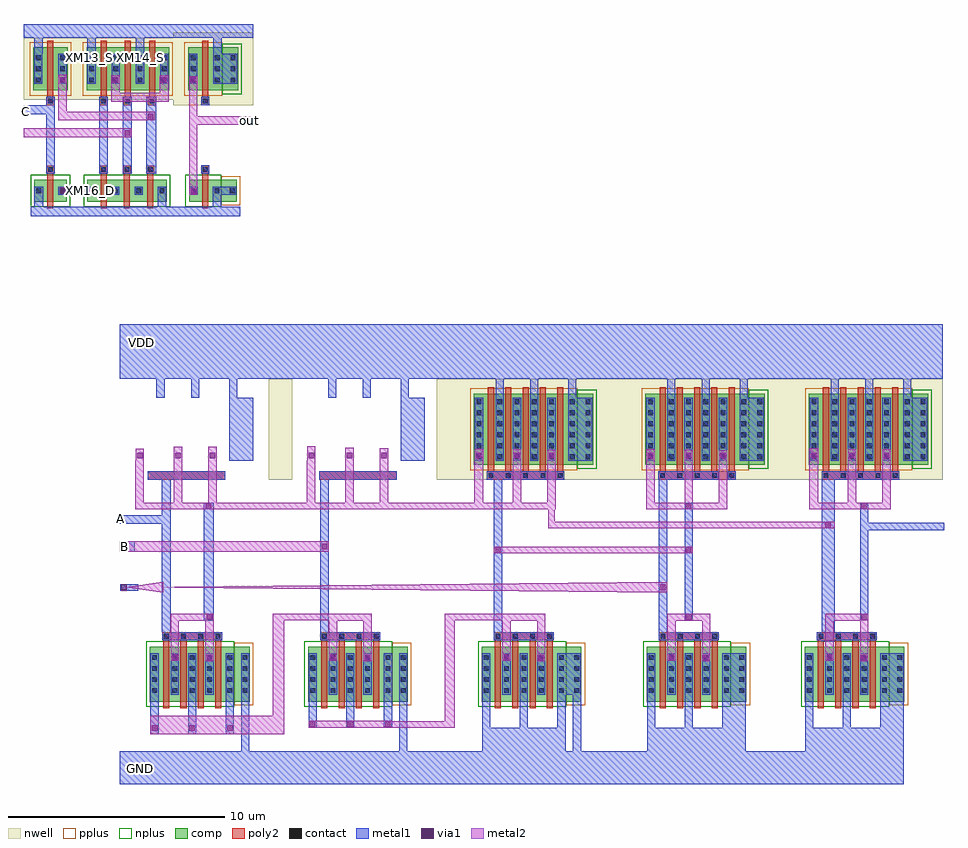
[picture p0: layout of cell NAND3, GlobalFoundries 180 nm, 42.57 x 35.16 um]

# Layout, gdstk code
import gdstk
lib = gdstk.Library(unit=1e-6, precision=5e-09)
def R(c, l, rs):  # rectangles x0, y0, x1, y1
    for r in rs: c.add(gdstk.rectangle(r[:2], r[2:], *l))
def A(c, l, x, y, w, h, nx, ny, dx, dy):  # array of equal rectangles
    R(c, l, [(x+i*dx, y+j*dy, x+i*dx+w, y+j*dy+h) for i in range(nx) for j in range(ny)])
nwell = (21, 0)
comp = (22, 0)
poly2 = (30, 0)
pplus = (31, 0)
nplus = (32, 0)
contact = (33, 0)
metal1 = (34, 0)
via1 = (35, 0)
metal2 = (36, 0)

nfet_1 = lib.new_cell('nfet$1')
R(nfet_1, comp, [(-0.42,0,0,2.54), (0,0,3.06,2.54), (3.06,0,3.48,2.54), (3.48,0,4.19,2.54)])
A(nfet_1, poly2, 0.19, -0.3, 0.28, 3.14, 4, 1, 0.8, 0)
A(nfet_1, poly2, 0.15, 2.84, 0.36, 0.36, 4, 1, 0.8, 0)
R(nfet_1, pplus, [(3.48,-0.17,4.36,2.71)])
R(nfet_1, nplus, [(-0.59,-0.24,3.48,2.78)])
A(nfet_1, contact, -0.32, 0.395, 0.22, 0.22, 1, 4, 0, 0.51)
A(nfet_1, contact, 0.62, 0.395, 0.22, 0.22, 3, 4, 0.8, 0.51)
A(nfet_1, contact, 3.16, 0.395, 0.22, 0.22, 1, 4, 0, 0.51)
A(nfet_1, contact, 3.87, 0.395, 0.22, 0.22, 1, 4, 0, 0.51)
A(nfet_1, contact, 0.22, 2.91, 0.22, 0.22, 4, 1, 0.8, 0)
A(nfet_1, metal1, 0.54, 0.315, 0.38, 1.91, 3, 1, 0.8, 0)
A(nfet_1, metal1, 0.14, 2.83, 0.38, 0.38, 4, 1, 0.8, 0)
R(nfet_1, metal1, [(-0.4,0.315,-0.02,2.225), (3.08,0.315,3.46,2.225), (3.79,0.315,4.17,2.225)])

pfet = lib.new_cell('pfet')
R(pfet, nwell, [(-1.15,-0.69,5.74,3.99)])
R(pfet, comp, [(-0.46,0,0,3.3), (0,0,3.86,3.3), (3.86,0,4.32,3.3), (4.32,0,5.05,3.3)])
A(pfet, poly2, 0.14, -0.68, 0.38, 0.38, 5, 1, 0.8, 0)
A(pfet, poly2, 0.19, -0.3, 0.28, 3.9, 5, 1, 0.8, 0)
R(pfet, pplus, [(-0.63,-0.24,4.32,3.54)])
R(pfet, nplus, [(4.32,-0.17,5.22,3.47)])
A(pfet, contact, 0.22, -0.6, 0.22, 0.22, 5, 1, 0.8, 0)
A(pfet, contact, -0.34, 0.265, 0.22, 0.22, 1, 6, 0, 0.51)
A(pfet, contact, 0.62, 0.265, 0.22, 0.22, 4, 6, 0.8, 0.51)
A(pfet, contact, 3.98, 0.265, 0.22, 0.22, 1, 6, 0, 0.51)
A(pfet, contact, 4.71, 0.265, 0.22, 0.22, 1, 6, 0, 0.51)
A(pfet, metal1, 0.14, -0.68, 0.38, 0.38, 5, 1, 0.8, 0)
A(pfet, metal1, 0.54, 0.185, 0.38, 2.93, 4, 1, 0.8, 0)
R(pfet, metal1, [(-0.42,0.185,-0.04,3.115), (3.9,0.185,4.28,3.115), (4.63,0.185,5.01,3.115)])

nfet = lib.new_cell('nfet')
R(nfet, comp, [(-0.42,0,0,1), (0,0,0.66,1), (0.66,0,1.08,1)])
R(nfet, poly2, [(0.19,-0.3,0.47,1.3), (0.15,1.3,0.51,1.66)])
R(nfet, nplus, [(-0.59,-0.24,1.25,1.24)])
R(nfet, contact, [(-0.32,0.39,-0.1,0.61), (0.76,0.39,0.98,0.61), (0.22,1.37,0.44,1.59)])
R(nfet, metal1, [(-0.4,0.31,-0.02,0.69), (0.68,0.31,1.06,0.69), (0.14,1.29,0.52,1.67)])

pfet_1 = lib.new_cell('pfet$1')
R(pfet_1, nwell, [(-0.9,-0.44,1.56,2.44)])
R(pfet_1, comp, [(-0.46,0,0,2), (0,0,0.66,2), (0.66,0,1.12,2)])
R(pfet_1, poly2, [(0.14,-0.68,0.52,-0.3), (0.19,-0.3,0.47,2.3)])
R(pfet_1, pplus, [(-0.63,-0.24,1.29,2.24)])
A(pfet_1, contact, -0.34, 0.38, 0.22, 0.22, 1, 3, 0, 0.51)
A(pfet_1, contact, 0.78, 0.38, 0.22, 0.22, 1, 3, 0, 0.51)
R(pfet_1, contact, [(0.22,-0.6,0.44,-0.38)])
R(pfet_1, metal1, [(0.14,-0.68,0.52,-0.3), (-0.42,0.3,-0.04,1.7), (0.7,0.3,1.08,1.7)])

pfet_2 = lib.new_cell('pfet$2')
R(pfet_2, nwell, [(-1.15,-0.69,2.54,2.69)])
R(pfet_2, comp, [(-0.46,0,0,2), (0,0,0.66,2), (0.66,0,1.12,2), (1.12,0,1.85,2)])
R(pfet_2, poly2, [(0.14,-0.68,0.52,-0.3), (0.19,-0.3,0.47,2.3)])
R(pfet_2, pplus, [(-0.63,-0.24,1.12,2.24)])
R(pfet_2, nplus, [(1.12,-0.17,2.02,2.17)])
A(pfet_2, contact, -0.34, 0.38, 0.22, 0.22, 1, 3, 0, 0.51)
A(pfet_2, contact, 0.78, 0.38, 0.22, 0.22, 1, 3, 0, 0.51)
A(pfet_2, contact, 1.51, 0.38, 0.22, 0.22, 1, 3, 0, 0.51)
R(pfet_2, contact, [(0.22,-0.6,0.44,-0.38)])
R(pfet_2, metal1, [(0.14,-0.68,0.52,-0.3), (-0.42,0.3,-0.04,1.7), (0.7,0.3,1.08,1.7), (1.43,0.3,1.81,1.7)])

nfet_2 = lib.new_cell('nfet$2')
R(nfet_2, comp, [(-0.42,0,0,1), (0,0,0.66,1), (0.66,0,1.08,1), (1.08,0,1.79,1)])
R(nfet_2, poly2, [(0.19,-0.3,0.47,1.3), (0.15,1.3,0.51,1.66)])
R(nfet_2, pplus, [(1.08,-0.17,1.96,1.17)])
R(nfet_2, nplus, [(-0.59,-0.24,1.08,1.24)])
R(nfet_2, contact, [(-0.32,0.39,-0.1,0.61), (0.76,0.39,0.98,0.61), (1.47,0.39,1.69,0.61), (0.22,1.37,0.44,1.59)])
R(nfet_2, metal1, [(-0.4,0.31,-0.02,0.69), (0.68,0.31,1.06,0.69), (1.39,0.31,1.77,0.69), (0.14,1.29,0.52,1.67)])

nand3 = lib.new_cell('NAND3')
R(nand3, nwell, [(-46.535,17.78,-45.465,22.46), (-38.78,17.78,-37.61,22.46), (-31.16,17.78,-29.505,22.46), (-23.26,17.78,-21.925,22.46)])
R(nand3, poly2, [(-51.475,10.355,-48.695,10.735), (-44.16,10.355,-41.38,10.735), (-36.13,10.355,-33.35,10.735), (-28.5,10.355,-25.72,10.735), (-21.19,10.355,-18.41,10.735), (-52.135,17.79,-48.555,18.17), (-44.2,17.79,-40.62,18.17), (-36.45,17.79,-32.87,18.17), (-28.515,17.79,-24.935,18.17), (-20.955,17.79,-17.375,18.17)])
A(nand3, metal1, -44.7, 6.31, 0.38, 1.53, 3, 1, 1.74, 0)
A(nand3, metal1, -36.67, 6.31, 0.38, 1.53, 3, 1, 1.74, 0)
A(nand3, metal1, -29.04, 6.31, 0.38, 1.53, 3, 1, 1.74, 0)
A(nand3, metal1, -21.73, 6.31, 0.38, 1.53, 3, 1, 1.74, 0)
R(nand3, metal1, [(-53.425,3.71,-17.87,5.22), (-17.87,3.71,-17.16,7.84), (-40.51,4.24,-40.13,8.48), (-25.37,4.745,-24.47,7.84), (-36.67,5.045,-32.81,6.31), (-47.825,5.16,-47.445,9.19), (-32.48,5.22,-32.085,5.31), (-29.04,5.22,-25.15,5.31), (-21.73,5.22,-17.87,6.31), (-32.48,5.31,-32.09,7.84), (-29.04,5.31,-25.15,6.31), (-52.015,6.01,-51.635,7.84), (-50.275,6.01,-49.895,7.95), (-48.535,6.01,-48.155,7.98), (-33.19,7.84,-32.1,9.75), (-25.56,7.84,-24.47,9.75), (-18.25,7.84,-17.16,9.75), (-20.955,10.305,-20.36,18.17), (-51.475,10.355,-48.695,10.735), (-44.16,10.355,-41.38,10.735), (-36.13,10.355,-33.35,10.735), (-28.5,10.355,-25.72,10.735), (-21.19,10.355,-18.41,10.735), (-49.55,11.265,-49.1,11.595), (-27.31,11.265,-26.925,16.73), (-19.19,11.28,-18.81,16.73), (-49.55,11.595,-49.095,16.73), (-53.41,12.66,-52.57,12.96), (-53.425,14.45,-52.75,14.93), (-19.19,15.455,-15.3,15.79), (-52.135,17.79,-48.555,18.17), (-44.2,17.79,-40.62,18.17), (-36.45,17.79,-32.87,18.17), (-28.515,17.79,-25.735,18.17), (-20.955,17.79,-17.375,18.17), (-48.375,18.655,-47.265,21.585), (-40.44,18.655,-39.33,21.585), (-32.69,18.655,-31.58,21.585), (-24.755,18.655,-23.645,21.585), (-17.195,18.655,-16.085,21.585), (-51.735,21.585,-51.355,23.275), (-50.135,21.585,-49.755,23.275), (-48.375,21.585,-47.995,23.275), (-43.8,21.585,-43.42,23.275), (-42.2,21.585,-41.82,23.275), (-40.44,21.585,-40.06,23.275), (-36.05,21.585,-35.67,23.275), (-34.45,21.585,-34.07,23.275), (-32.69,21.585,-32.31,23.275), (-28.115,21.585,-27.735,23.275), (-26.515,21.585,-26.135,23.275), (-24.755,21.585,-24.375,23.275), (-20.555,21.585,-20.175,23.275), (-18.955,21.585,-18.575,23.275), (-17.195,21.585,-16.815,23.275), (-53.425,22.46,-15.355,24.975), (-57.56,29.975,-47.85,30.41), (-49.13,30.96,-48.04,31.34), (-53.29,31.94,-52.87,35.49), (-52.21,31.94,-51.75,35.49), (-49.11,36.09,-48,37.49), (-57.87,38.23,-47.27,38.865)])
R(nand3, via1, [(-51.945,6.175,-51.685,6.435), (-50.22,6.175,-49.96,6.435), (-48.465,6.175,-48.205,6.435), (-44.64,6.335,-44.38,6.595), (-44.64,6.335,-44.38,6.595), (-42.9,6.335,-42.64,6.595), (-42.9,6.335,-42.64,6.595), (-41.16,6.335,-40.9,6.595), (-41.16,6.335,-40.9,6.595), (-49.415,9.435,-49.155,9.695), (-42.1,9.435,-41.84,9.695), (-34.07,9.435,-33.81,9.695), (-26.44,9.435,-26.18,9.695), (-19.13,9.435,-18.87,9.695), (-51.015,9.455,-50.755,9.715), (-43.7,9.455,-43.44,9.715), (-35.67,9.455,-35.41,9.715), (-28.04,9.455,-27.78,9.715), (-20.73,9.455,-20.47,9.715), (-27.245,11.295,-26.985,11.555), (-19.13,11.295,-18.87,11.555), (-49.405,11.3,-49.145,11.56), (-53.375,12.68,-53.115,12.94), (-28.44,12.68,-28.18,12.94), (-36.07,14.415,-35.81,14.675), (-27.25,14.415,-26.99,14.675), (-53.29,14.56,-53.03,14.82), (-44.1,14.56,-43.84,14.82), (-20.795,15.56,-20.535,15.82), (-49.46,16.44,-49.2,16.7), (-27.25,16.44,-26.99,16.7), (-19.14,16.45,-18.88,16.71), (-52.635,18.775,-52.375,19.035), (-50.87,18.775,-50.61,19.035), (-49.275,18.775,-49.015,19.035), (-44.7,18.775,-44.44,19.035), (-42.935,18.775,-42.675,19.035), (-41.34,18.775,-41.08,19.035), (-36.95,18.775,-36.69,19.035), (-35.185,18.775,-34.925,19.035), (-33.59,18.775,-33.33,19.035), (-29.015,18.775,-28.755,19.035), (-27.25,18.775,-26.99,19.035), (-25.655,18.775,-25.395,19.035), (-21.455,18.775,-21.195,19.035), (-19.69,18.775,-19.43,19.035), (-18.095,18.775,-17.835,19.035), (-54.85,31.015,-54.59,31.275), (-50.155,31.015,-49.895,31.275), (-56.21,31.02,-55.95,31.28), (-53.205,33.695,-52.945,33.955), (-52.15,34.46,-51.89,34.72), (-56.21,36.145,-55.95,36.405), (-53.755,36.15,-53.495,36.41), (-51.51,36.15,-51.25,36.41), (-50.18,36.15,-49.92,36.41)])
R(nand3, metal2, [(-52.015,6.01,-45.825,6.86), (-44.7,6.31,-40.84,6.625), (-46.355,6.315,-45.825,11.58), (-38.39,6.32,-37.94,11.58), (-49.475,9.385,-49.095,11.595), (-42.16,9.385,-41.78,11.595), (-34.13,9.385,-33.75,11.595), (-26.5,9.385,-26.12,11.595), (-19.19,9.385,-18.81,11.595), (-51.075,9.42,-50.695,11.595), (-43.76,9.42,-43.38,11.595), (-35.73,9.42,-35.35,11.595), (-28.1,9.42,-27.72,11.595), (-20.79,9.42,-20.41,11.595), (-51.075,11.265,-49.095,11.595), (-49.55,11.265,-49.095,11.595), (-43.76,11.265,-41.78,11.595), (-35.73,11.265,-33.75,11.595), (-28.1,11.265,-26.12,11.595), (-20.79,11.265,-18.81,11.595), (-27.31,14.395,-26.925,14.695), (-53.425,14.45,-43.77,14.93), (-52.71,16.415,-52.315,18.655), (-52.71,16.415,-48.97,16.73), (-50.93,16.415,-50.55,18.655), (-49.335,16.415,-48.955,18.655), (-48.97,16.415,-33.285,16.73), (-44.775,16.415,-44.38,18.655), (-44.775,16.415,-41.035,16.73), (-42.995,16.415,-42.615,18.655), (-41.4,16.415,-41.02,18.655), (-37.025,16.415,-36.63,18.655), (-37.025,16.415,-33.285,16.73), (-35.245,16.415,-34.865,18.655), (-33.65,16.415,-33.27,18.655), (-29.09,16.415,-28.695,18.655), (-29.09,16.415,-25.35,16.73), (-27.31,16.415,-26.93,18.655), (-25.715,16.415,-25.335,18.655), (-21.53,16.415,-21.135,18.655), (-21.53,16.415,-17.79,16.73), (-19.75,16.415,-19.37,18.655), (-18.155,16.415,-17.775,18.655), (-52.695,18.375,-52.315,19.215), (-50.935,18.38,-50.55,19.315), (-41.4,18.47,-41.02,19.23), (-49.335,18.495,-48.955,19.31), (-43,18.505,-42.615,19.265), (-44.76,18.515,-44.38,19.325), (-37.01,18.52,-36.63,19.21), (-29.075,18.56,-28.695,19.205), (-27.315,18.57,-26.93,19.175), (-35.25,18.575,-34.865,19.195), (-33.65,18.59,-33.27,19.16), (-19.75,18.63,-19.375,19.195), (-25.715,18.64,-25.335,19.155), (-21.53,18.655,-21.135,19.235), (-18.155,18.655,-17.775,19.205), (-50.21,30.96,-49.85,36.45)])
nand3.add(gdstk.FlexPath([(-56.64,31.94),(-56.64,35.49)], 0.4, ends="flush", simple_path=True, layer=34, datatype=0))  # metal1
nand3.add(gdstk.FlexPath([(-56.64,34.9),(-57.87,34.9)], 0.4, ends="flush", simple_path=True, layer=34, datatype=0))  # metal1
nand3.add(gdstk.FlexPath([(-57.2,37.49),(-57.2,38.23)], 0.4, ends="flush", simple_path=True, layer=34, datatype=0))  # metal1
nand3.add(gdstk.FlexPath([(-54.74,37.49),(-54.74,38.23)], 0.4, ends="flush", simple_path=True, layer=34, datatype=0))  # metal1
nand3.add(gdstk.FlexPath([(-52.5,37.49),(-52.5,38.23)], 0.4, ends="flush", simple_path=True, layer=34, datatype=0))  # metal1
nand3.add(gdstk.FlexPath([(-48.92,37.49),(-48.92,38.23)], 0.4, ends="flush", simple_path=True, layer=34, datatype=0))  # metal1
nand3.add(gdstk.FlexPath([(-54.18,35.49),(-54.18,31.94)], 0.4, ends="flush", simple_path=True, layer=34, datatype=0))  # metal1
nand3.add(gdstk.FlexPath([(-48.94,31.26),(-48.94,30.41)], 0.4, ends="flush", simple_path=True, layer=34, datatype=0))  # metal1
nand3.add(gdstk.FlexPath([(-57.18,31.34),(-57.18,30.41)], 0.4, ends="flush", simple_path=True, layer=34, datatype=0))  # metal1
nand3.add(gdstk.FlexPath([(-51.48,31.34),(-51.48,30.41)], 0.4, ends="flush", simple_path=True, layer=34, datatype=0))  # metal1
nand3.add(gdstk.FlexPath([(-51.285,15.95),(-53.425,15.95)], 0.4, ends="flush", simple_path=True, layer=34, datatype=0))  # metal1
nand3.add(gdstk.FlexPath([(-51.285,10.725),(-51.285,18.09)], 0.4, ends="flush", simple_path=True, layer=34, datatype=0))  # metal1
nand3.add(gdstk.FlexPath([(-43.97,10.735),(-43.97,17.98)], 0.4, ends="flush", simple_path=True, layer=34, datatype=0))  # metal1
nand3.add(gdstk.FlexPath([(-35.94,10.655),(-35.94,17.79),(-35.94,18.065)], 0.4, ends="flush", simple_path=True, layer=34, datatype=0))  # metal1
nand3.add(gdstk.FlexPath([(-28.31,10.735),(-28.31,18.17)], 0.4, ends="flush", simple_path=True, layer=34, datatype=0))  # metal1
nand3.add(gdstk.FlexPath([(-56.09,36.52),(-56.09,34.405)], 0.4, ends="flush", simple_path=True, layer=36, datatype=0))  # metal2
nand3.add(gdstk.FlexPath([(-53.625,36.485),(-53.625,35.315)], 0.4, ends="flush", simple_path=True, layer=36, datatype=0))  # metal2
nand3.add(gdstk.FlexPath([(-51.82,34.605),(-56.29,34.605)], 0.4, ends="flush", simple_path=True, layer=36, datatype=0))  # metal2
nand3.add(gdstk.FlexPath([(-51.375,36.505),(-51.375,35.275)], 0.4, ends="flush", simple_path=True, layer=36, datatype=0))  # metal2
nand3.add(gdstk.FlexPath([(-50.21,34.4),(-47.27,34.405)], 0.4, ends="flush", simple_path=True, layer=36, datatype=0))  # metal2
nand3.add(gdstk.FlexPath([(-51.175,35.475),(-53.825,35.475)], 0.4, ends="flush", simple_path=True, layer=36, datatype=0))  # metal2
nand3.add(gdstk.FlexPath([(-52.87,33.835),(-57.87,33.835)], 0.4, ends="flush", simple_path=True, layer=36, datatype=0))  # metal2
nand3.add(gdstk.FlexPath([(-28.11,12.81),(-53.175,12.81),(-51.43,12.81)], 0.5, ends="flush", simple_path=True, layer=36, datatype=0))  # metal2
nand3.add(gdstk.FlexPath([(-43.76,11.43),(-46.355,11.43)], 0.3, ends="flush", simple_path=True, layer=36, datatype=0))  # metal2
nand3.add(gdstk.FlexPath([(-40.84,6.47),(-37.94,6.47)], 0.3, ends="flush", simple_path=True, layer=36, datatype=0))  # metal2
nand3.add(gdstk.FlexPath([(-35.73,11.43),(-38.39,11.43)], 0.3, ends="flush", simple_path=True, layer=36, datatype=0))  # metal2
nand3.add(gdstk.FlexPath([(-33.46,16.415),(-33.46,15.69),(-20.36,15.69)], 0.3, ends="flush", simple_path=True, layer=36, datatype=0))  # metal2
nand3.add(gdstk.FlexPath([(-27.31,14.545),(-36.14,14.545),(-36.14,14.545)], 0.3, ends="flush", simple_path=True, layer=36, datatype=0))  # metal2
nand3.add(gdstk.Reference(nfet_1, (-21.33,7.525)))
nand3.add(gdstk.Reference(pfet, (-36.59,18.47)))
nand3.add(gdstk.Reference(pfet, (-21.095,18.47)))
nand3.add(gdstk.Reference(pfet, (-28.655,18.47)))
nand3.add(gdstk.Reference(nfet_1, (-51.615,7.525)))
nand3.add(gdstk.Reference(nfet_1, (-36.27,7.525)))
nand3.add(gdstk.Reference(nfet_1, (-28.64,7.525)))
nand3.add(gdstk.Reference(nfet_1, (-44.3,7.525)))
nand3.add(gdstk.Reference(nfet, (-56.97,30.65)))
nand3.add(gdstk.Reference(pfet_1, (-56.97,35.79)))
nand3.add(gdstk.Reference(pfet_1, (-54.51,35.79)))
nand3.add(gdstk.Reference(pfet_1, (-53.39,35.79)))
nand3.add(gdstk.Reference(pfet_1, (-52.27,35.79)))
nand3.add(gdstk.Reference(pfet_2, (-49.81,35.79)))
nand3.add(gdstk.Reference(nfet, (-54.51,30.65)))
nand3.add(gdstk.Reference(nfet, (-53.43,30.65)))
nand3.add(gdstk.Reference(nfet, (-52.35,30.65)))
nand3.add(gdstk.Reference(nfet_2, (-49.81,30.65)))
nand3.add(gdstk.Label('XM13_S', (-54.85,37.3), layer=34, texttype=10))
nand3.add(gdstk.Label('XM13_D XM14D', (-53.685,37.3), layer=34, texttype=10))
nand3.add(gdstk.Label('XM14_S', (-52.455,37.3), layer=34, texttype=10))
nand3.add(gdstk.Label('XM15_D', (-51.44,37.3), layer=34, texttype=10))
nand3.add(gdstk.Label('XM15_S', (-52.455,37.09), layer=34, texttype=10))
nand3.add(gdstk.Label('C', (-57.805,34.81), layer=34, texttype=10))
nand3.add(gdstk.Label('XM16_D', (-54.785,31.15), layer=34, texttype=10))
nand3.add(gdstk.Label('XM16S17D', (-53.66,31.15), layer=34, texttype=10))
nand3.add(gdstk.Label('XM17S18D', (-52.6,31.15), layer=34, texttype=10))
nand3.add(gdstk.Label('B', (-53.215,14.68), layer=34, texttype=10))
nand3.add(gdstk.Label('A', (-53.4,15.97), layer=34, texttype=10))
nand3.add(gdstk.Label('GND', (-52.46,4.44), layer=34, texttype=10))
nand3.add(gdstk.Label('VDD', (-52.415,24.14), layer=34, texttype=10))
nand3.add(gdstk.Label('out', (-47.435,34.405), layer=36, texttype=10))

lib.write_gds('NAND3.gds')
